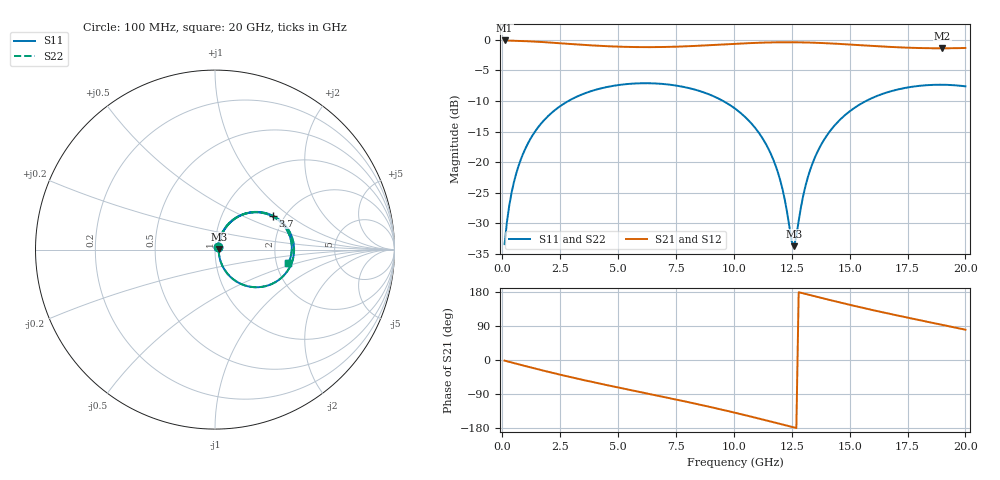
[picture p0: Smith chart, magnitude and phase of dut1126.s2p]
! Touchstone file exported from HFSS 2026.1.0
!  File:  C:/ffzhzh/LocalFiles/Ansys_Project_Files/temp_train_TSV_RDL_1126_1783306994_30076.aedt
!  Generated:  11:18:17 AM Jul  6, 2026
!  Design:  TSV_RDL
!  Project:  temp_train_TSV_RDL_1126_1783306994_30076
! Variables:
!  h_bsmrdl = 5.84um
!  h_ox = 20um
!  h_rdl = 5um
!  h_sub = 58.53um
!  h_tmrdl = 5.52um
!  h_tsv = 58.53um
!  h_via = 3um
!  l_bsmrdl = 182.98um
!  l_sub = 5013.22um
!  l_tmrdl = 974.97um
!  m_sub = 200um
!  pitch = 45.79um
!  r_tsv = 3.68um
!  s_tmrdl = 10um
!  w_bsmrdl = 29.89um
!  w_sub = 500um
!  w_tmrdl = 24.91um
!  x_tsv_center1 = 987.425um
!  x_tsv_center2 = 1200.295um
!  x_tsv_center3 = 2200.175um
!  x_tsv_center4 = 2413.045um
!  x_tsv_center5 = 3412.925um
!  x_tsv_center6 = 3625.795um
# GHz S MA R 50.000000
! Terminal data exported
! Port[1] = TM_RDL1_1_T1
! Port[2] = TM_RDL5_1_T1
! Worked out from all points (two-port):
!   200 points, 100 MHz to 20 GHz, reference 50 ohm
!   highest |S21| = -0.14 dB at 100 MHz (marker M1); lowest = -1.4 dB at 19 GHz (marker M2)
!   |S21| within 3 dB of the highest: start of sweep to end of sweep
!   lowest |S11| = -33.7 dB at 12.6 GHz (marker M3), VSWR 1.04, Z = 52.1 + j0.243 ohm
!   |S11| at or under -10 dB: start of sweep to 2.862 GHz; 9.529 GHz to 15.72 GHz (6.188 GHz wide, 49 % of centre)
!   |S22| runs from -33.7 to -7.1 dB; largest |S21 - S12| = 1.7e-14
!   S11 on the Smith chart (normalised r, x): 100 MHz: 1.03, +0.03; 3.7 GHz: 1.73, +0.76; 20 GHz: 2.32, -0.43
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0.1  0.02144 40.7  0.9841 -1.7  0.9841 -1.7  0.02144 40.7
! Gamma 0 0 0 0
! Port Impedance 50 0 50 0
0.3  0.04418 61.7  0.9816 -4.9  0.9816 -4.9  0.04418 61.7
0.5  0.0684 66.4  0.9795 -8.1  0.9795 -8.1  0.06841 66.4
1.1  0.1414 64.3  0.9701 -17.6  0.9701 -17.6  0.1414 64.3
2.1  0.2497 51.8  0.9452 -32.9  0.9452 -32.9  0.2497 51.8
3.5  0.3605 33.2  0.9058 -52.8  0.9058 -52.8  0.3605 33.2
3.7  0.3723 30.6  0.9008 -55.5  0.9008 -55.5  0.3723 30.6
6.8  0.4366 -7.5  0.8694 -95.3  0.8694 -95.3  0.4366 -7.5
8.5  0.3817 -28.4  0.8911 -117.5  0.8911 -117.5  0.3818 -28.4
10.1  0.2694 -48.9  0.9247 -139.9  0.9247 -139.9  0.2694 -48.9
11  0.182 -59.7  0.9413 -153.3  0.9413 -153.3  0.182 -59.8
11.7  0.1054 -65.4  0.9495 -164.0  0.9495 -164.0  0.1054 -65.4
12.1  0.06038 -62.8  0.9517 -170.2  0.9517 -170.2  0.06038 -62.8
12.5  0.02257 -23.5  0.9517 -176.4  0.9517 -176.4  0.02255 -23.6
12.6  0.02063 6.5  0.9514 -178.0  0.9514 -178.0  0.0206 6.4
13  0.05369 61.3  0.9488 175.8  0.9488 175.8  0.05366 61.3
13.4  0.09806 65.7  0.9442 169.6  0.9442 169.6  0.09804 65.7
14  0.1633 61.7  0.9342 160.5  0.9342 160.5  0.1633 61.7
14.7  0.2328 53.8  0.919 150.1  0.919 150.1  0.2328 53.8
16.7  0.375 28.9  0.8726 122.3  0.8726 122.3  0.375 28.9
19  0.4282 1.2  0.8493 92.7  0.8493 92.7  0.4282 1.3
20  0.4156 -10.6  0.8544 80.0  0.8544 80.0  0.4156 -10.6
